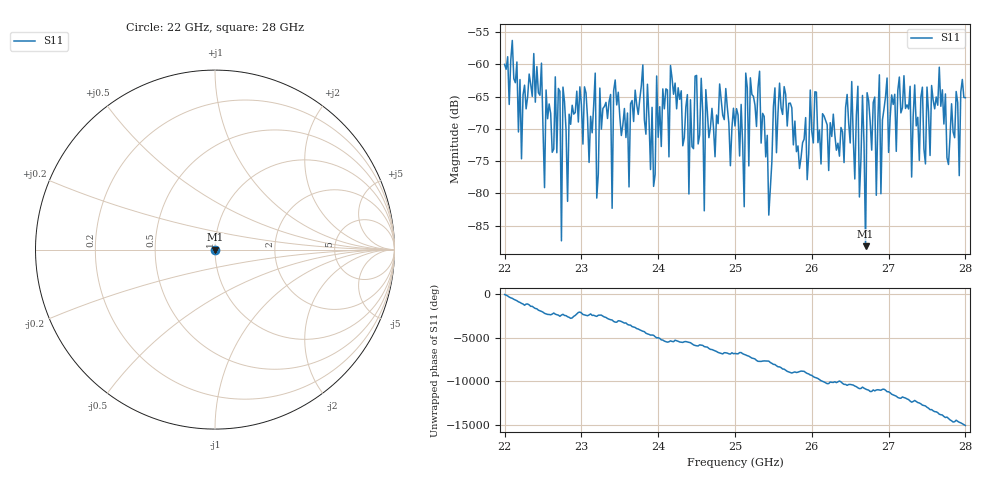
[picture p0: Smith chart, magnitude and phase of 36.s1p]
#  HZ  S  RI  R  50.00
! Rohde & Schwarz ZVA40 4Ports - Version 3.90 - 1145.1110k42 SN: 100403
! Date: 2023-10-04 09:25:05
! Measurement: S12
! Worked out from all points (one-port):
!   301 points, 22 GHz to 28 GHz, reference 50 ohm
!   lowest |S11| = -88.2 dB at 26.7 GHz (marker M1), VSWR 1.00, Z = 50 - j0.0039 ohm
!   |S11| at or under -10 dB: start of sweep to end of sweep
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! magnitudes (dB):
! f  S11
! 22 GHz  -60.0
! 22.22 GHz  -74.6
! 22.48 GHz  -59.8
! 22.52 GHz  -79.1
! 22.66 GHz  -61.9
! 22.74 GHz  -87.4
! 22.76 GHz  -63.5
! 22.82 GHz  -81.2
! 22.94 GHz  -64.2
! 23.18 GHz  -61.4
! 23.2 GHz  -80.7
! 23.5 GHz  -68.1
! 24.26 GHz  -63.6
! 24.4 GHz  -80.1
! 24.48 GHz  -61.8
! 24.6 GHz  -82.7
! 24.62 GHz  -63.9
! 25 GHz  -69.6
! 25.76 GHz  -72.5
! 26.5 GHz  -72.2
! 26.7 GHz  -88.2
! 26.72 GHz  -64.4
! 26.84 GHz  -80.3
! 26.88 GHz  -61.6
! 26.9 GHz  -80.1
! 26.98 GHz  -62.1
! 27.26 GHz  -66.9
! 28 GHz  -65.2
